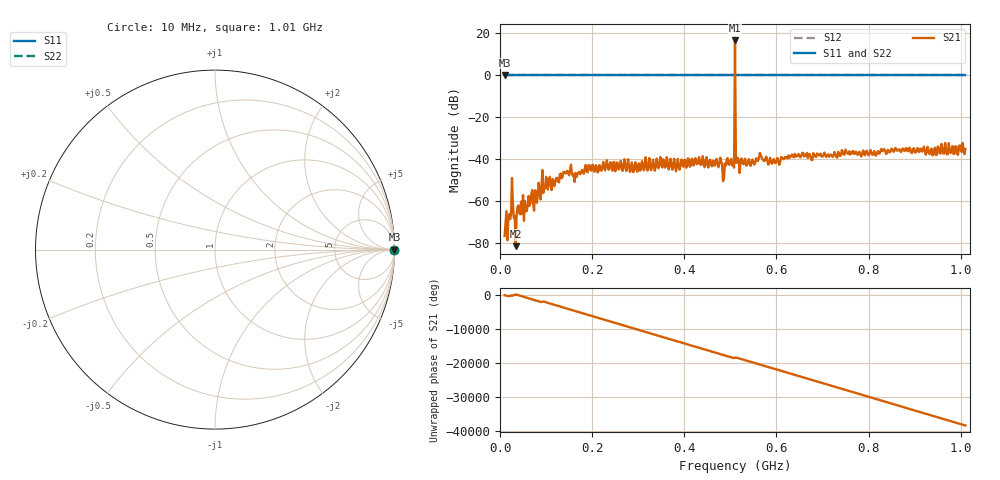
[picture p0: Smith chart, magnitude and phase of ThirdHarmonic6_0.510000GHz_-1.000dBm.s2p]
! 8/15/2025 3:31:59 PM
! C:\ANRITSUVNA\TEMP\TEMP.S2P
! CHANNEL.1
! TR.MEASUREMENT
! RAW.DATA
! RF.CORRECTION.OFF
! AVERAGING.OFF
! IF.BANDWIDTH: 5KHZ
! SWEEPTYPE:  FREQ.SWEEP(Linear)
! Reference Plane Port Info
! PORT:  PORT1  PORT2
! DISTANCE:  0  m  0  m
! TIME:  0  s  0  s
! PHASE.OFFSET:  0  deg.  0  deg.
! LOSS:  0  dB  0  dB
! REF.LOSS:  0  dB  0  dB
! REF.FREQ:  0  Hz  0  Hz
! Power Info
! POWER:  -20  dBm  -20  dBm
! EFF.POWER:  -20  dBm  -20  dBm
! SOURCE.ATTEN:  0  dB  0  dB
! TEST.ATTEN:  0  dB  0  dB
# GHZ S RI R 50.0
! FREQ.GHZ  S11RE  S11IM  S21RE  S21IM  S12RE  S12IM  S22RE  S22IM
!; PortSelection: Port_12
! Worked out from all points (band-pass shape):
!   501 points, 10 MHz to 1.01 GHz, reference 50 ohm
!   highest |S21| = 16.45 dB at 510 MHz (marker M1); lowest = -81.5 dB at 34 MHz (marker M2)
!   |S21| within 3 dB of the highest: 509.9008 MHz to 510.103 MHz (202.2 kHz wide, 0.0396 % of centre)
!   lowest |S11| = 0.0 dB at 10 MHz (marker M3)
!   |S11| at or under -10 dB: nowhere
!   |S22| runs from 0.0 to 0.0 dB; largest |S21 - S12| = 5.9
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0.01  1 0  0.000132 6.62e-05  1 0  1 0
0.02  1 0  -0.000348 0.000349  1 0  1 0
0.024  1 0  0.000475 -0.000118  1 0  1 0
0.034  1 0  -2.82e-05 7.97e-05  1 0  1 0
0.042  1 0  0.000459 -0.000239  1 0  1 0
0.056  1 0  0.000159 0.000554  1 0  1 0
0.066  1 0  0.000476 0.000763  1 0  1 0
0.096  1 0  0.000361 -0.0019  1 0  1 0
0.15  1 0  -0.00198 -0.0036  1 0  1 0
0.178  1 0  -0.00532 -0.00145  1 0  1 0
0.344  1 0  0.00602 0.000394  1 0  1 0
0.474  1 0  -0.00639 -7.86e-05  1 0  1 0
0.486  1 0  -0.0023 0.00249  1 0  1 0
0.492  1 0  -0.00919 -0.00236  1 0  1 0
0.504  1 0  0.00405 0.00581  1 0  1 0
0.506  1 0  0.0081 -0.00162  1 0  1 0
0.51  1 0  5.408 3.859  1 0  1 0
0.514  1 0  0.00745 0.00364  1 0  1 0
0.516  1 0  0.0058 -0.00907  1 0  1 0
0.678  1 0  0.00434 -0.00846  1 0  1 0
0.844  1 0  -0.00079 0.015  1 0  1 0
1.01  1 0  0.00274 -0.017  1 0  1 0
